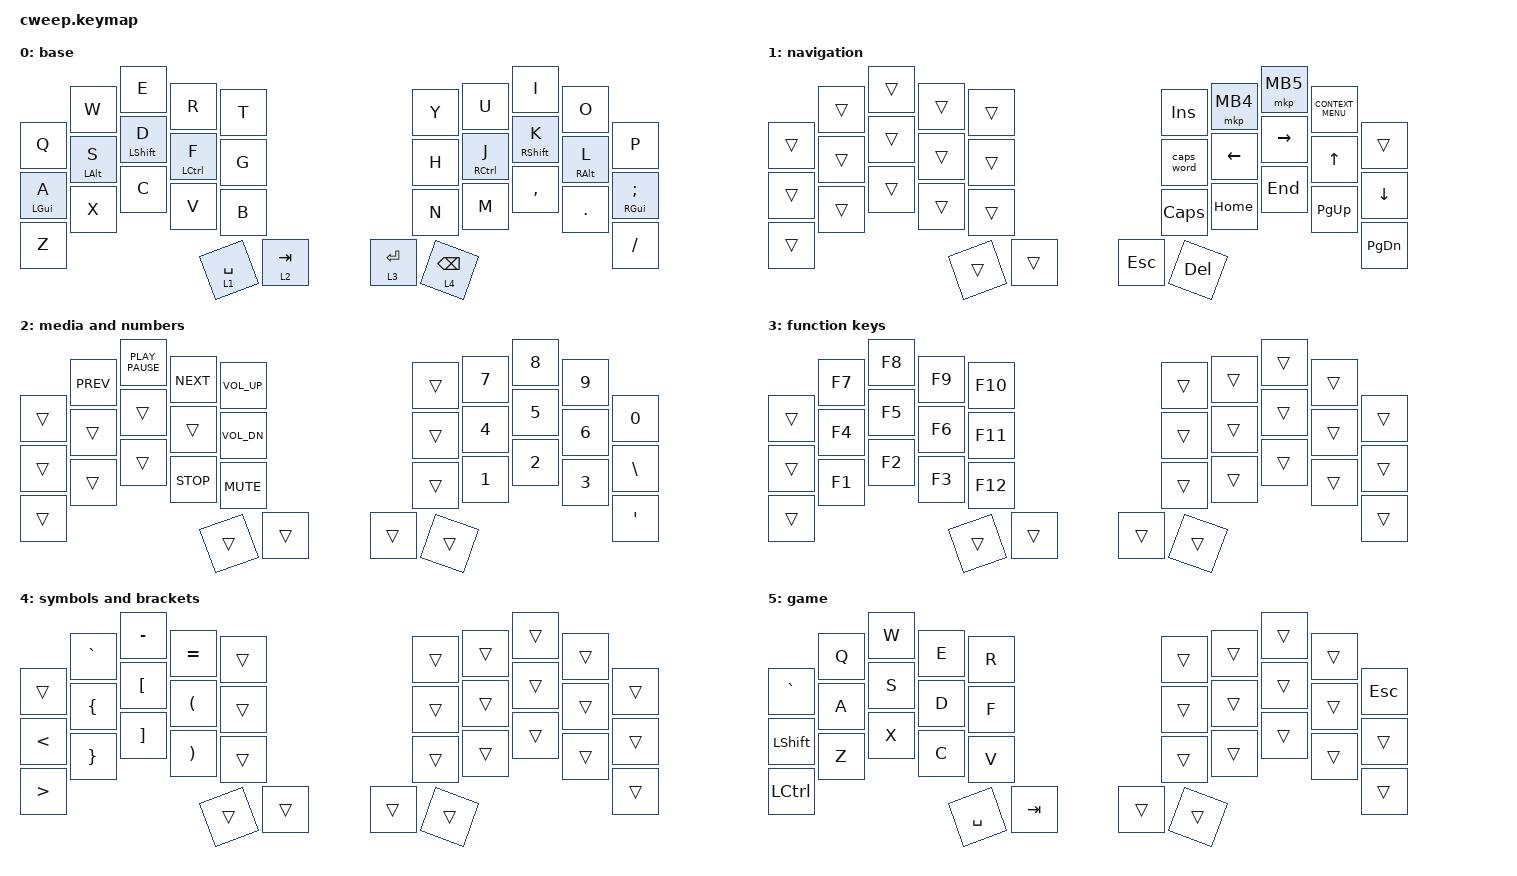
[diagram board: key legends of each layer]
#include <behaviors.dtsi>
#include <dt-bindings/zmk/keys.h>
#include <dt-bindings/zmk/pointing.h>

#define KEYS_L 0 1 2 3 4 10 11 12 13 14 20 21 22 23 24
#define KEYS_R 5 6 7 8 9 15 16 17 18 19 25 26 27 28 29
#define THUMBS 30 31 32 33

/ {
    behaviors {
        hml: home_row_mod_left {
            compatible = "zmk,behavior-hold-tap";
            #binding-cells = <2>;
            flavor = "balanced";
            require-prior-idle-ms = <150>;
            tapping-term-ms = <280>;
            quick-tap-ms = <175>;
            bindings = <&kp>, <&kp>;

            hold-trigger-key-positions = <KEYS_R THUMBS>;
            hold-trigger-on-release;
        };

        hmr: home_row_mod_right {
            compatible = "zmk,behavior-hold-tap";
            #binding-cells = <2>;
            flavor = "balanced";
            require-prior-idle-ms = <150>;
            tapping-term-ms = <280>;
            quick-tap-ms = <175>;
            bindings = <&kp>, <&kp>;

            hold-trigger-key-positions = <KEYS_L THUMBS>;
            hold-trigger-on-release;
        };
    };
};

/ {
    combos {
        compatible = "zmk,combos";

        toggle-gaming {
            bindings = <&tog 5>;
            key-positions = <11 2 13>;
        };
    };

    keymap {
        compatible = "zmk,keymap";

        // home-row mods and layer-tap thumbs

        base {
            display-name = "base";
            bindings = <
&kp Q        &kp W        &kp E         &kp R         &kp T        &kp Y        &kp U            &kp I         &kp O        &kp P
&hml LGUI A  &hml LALT S  &hml LSHFT D  &hml LCTRL F  &kp G        &kp H        &hmr RCTRL J     &hmr RSHFT K  &hmr RALT L  &hmr RGUI SEMICOLON
&kp Z        &kp X        &kp C         &kp V         &kp B        &kp N        &kp M            &kp COMMA     &kp DOT      &kp SLASH
                                        &lt 1 SPACE   &lt 2 TAB    &lt 3 ENTER  &lt 4 BACKSPACE
            >;
        };

        navigation {
            display-name = "navigation";
            bindings = <
&trans  &trans  &trans  &trans  &trans    &kp INS     &mkp MB4  &mkp MB5   &kp K_CONTEXT_MENU  &trans
&trans  &trans  &trans  &trans  &trans    &caps_word  &kp LEFT  &kp RIGHT  &kp UP              &kp DOWN
&trans  &trans  &trans  &trans  &trans    &kp CLCK    &kp HOME  &kp END    &kp PG_UP           &kp PAGE_DOWN
                        &trans  &trans    &kp ESC     &kp DEL
            >;
        };

        media_numbers {
            display-name = "media and numbers";
            bindings = <
&trans  &kp K_PREV  &kp K_PLAY_PAUSE  &kp K_NEXT  &kp C_VOL_UP    &trans  &kp N7  &kp N8  &kp N9  &kp N0
&trans  &trans      &trans            &trans      &kp C_VOL_DN    &trans  &kp N4  &kp N5  &kp N6  &kp BSLH
&trans  &trans      &trans            &kp K_STOP  &kp K_MUTE      &trans  &kp N1  &kp N2  &kp N3  &kp SINGLE_QUOTE
                                      &trans      &trans          &trans  &trans
            >;
        };

        function_keys {
            display-name = "function keys";
            bindings = <
&trans  &kp F7  &kp F8  &kp F9  &kp F10    &trans  &trans  &trans  &trans  &trans
&trans  &kp F4  &kp F5  &kp F6  &kp F11    &trans  &trans  &trans  &trans  &trans
&trans  &kp F1  &kp F2  &kp F3  &kp F12    &trans  &trans  &trans  &trans  &trans
                        &trans  &trans     &trans  &trans
            >;
        };

        symbols_brackets {
            display-name = "symbols and brackets";
            bindings = <
&trans  &kp GRAVE        &kp MINUS  &kp EQUAL  &trans    &trans  &trans  &trans  &trans  &trans
&kp LT  &kp LEFT_BRACE   &kp LBKT   &kp LPAR   &trans    &trans  &trans  &trans  &trans  &trans
&kp GT  &kp RIGHT_BRACE  &kp RBKT   &kp RPAR   &trans    &trans  &trans  &trans  &trans  &trans
                                    &trans     &trans    &trans  &trans
            >;
        };

        game {
            display-name = "game";
            bindings = <
&kp GRAVE  &kp Q  &kp W  &kp E      &kp R      &trans  &trans  &trans  &trans  &kp ESC
&kp LSHFT  &kp A  &kp S  &kp D      &kp F      &trans  &trans  &trans  &trans  &trans
&kp LCTRL  &kp Z  &kp X  &kp C      &kp V      &trans  &trans  &trans  &trans  &trans
                         &kp SPACE  &kp TAB    &trans  &trans
            >;
        };
    };
};
